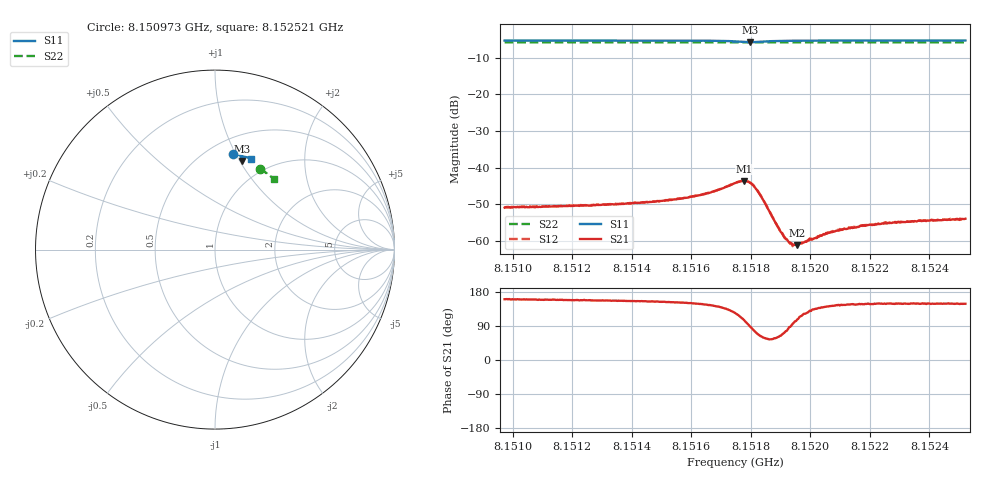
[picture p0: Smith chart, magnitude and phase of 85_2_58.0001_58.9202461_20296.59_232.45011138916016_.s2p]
#  HZ  S  RI  R  50.00
! Rohde & Schwarz Vector Network Analyzer
! Rohde-Schwarz,ZNB20-2Port,1311601062101988,3.16
! Created: UTC 3/21/2024, 12:54:04 AM
! freq[Hz]  re:S11  im:S11  re:S21  im:S21  re:S12  im:S12  re:S22  im:S22
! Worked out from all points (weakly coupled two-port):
!   401 points, 8.150973 GHz to 8.152521 GHz, reference 50 ohm
!   highest |S21| = -43.67 dB at 8.151778 GHz (marker M1); lowest = -61.2 dB at 8.151956 GHz (marker M2)
!   lowest |S11| = -5.7 dB at 8.151798 GHz (marker M3), VSWR 3.13, Z = 37.9 + j51.1 ohm
!   |S11| at or under -10 dB: nowhere
!   |S22| runs from -5.8 to -5.8 dB; largest |S21 - S12| = 0.00014
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8.1509734e9  0.1019 0.5331  -0.00267 0.000953  -0.00268 0.000994  0.2499 0.4493
8.1512326e9  0.1206 0.5295  -0.0028 0.00113  -0.00281 0.0012  0.2642 0.4408
8.1514919e9  0.1402 0.5245  -0.0031 0.00154  -0.0031 0.00154  0.2784 0.4316
8.1515692e9  0.1468 0.5224  -0.00332 0.00181  -0.00329 0.00187  0.2825 0.4288
8.1516389e9  0.1533 0.5191  -0.0036 0.0023  -0.00359 0.00239  0.2863 0.426
8.1516931e9  0.159 0.5143  -0.00385 0.00315  -0.00382 0.00325  0.2892 0.424
8.1517472e9  0.1626 0.5041  -0.00346 0.00505  -0.00338 0.00513  0.2917 0.4216
8.1517782e9  0.1576 0.4955  -0.00166 0.00634  -0.00161 0.0064  0.2929 0.4201
8.1517975e9  0.1499 0.494  0.000157 0.00618  0.000224 0.00628  0.2938 0.4196
8.151813e9  0.1444 0.4973  0.00131 0.00526  0.00143 0.00528  0.2944 0.4192
8.1518285e9  0.1418 0.5023  0.00186 0.00401  0.00192 0.00404  0.2951 0.4189
8.1518942e9  0.1489 0.5155  0.000711 0.0013  0.000733 0.00129  0.2989 0.4169
8.1519175e9  0.1522 0.5166  0.00026 0.00103  0.000298 0.00103  0.3001 0.4161
8.1519329e9  0.1543 0.5171  3.6e-05 0.000938  6.37e-05 0.0009  0.3011 0.4154
8.1519561e9  0.1573 0.5173  -0.000253 0.000836  -0.000266 0.000873  0.3023 0.4145
8.1519755e9  0.1594 0.5174  -0.00047 0.000813  -0.000425 0.000806  0.3033 0.4138
8.1520064e9  0.1627 0.5172  -0.00072 0.000772  -0.000683 0.000772  0.305 0.4126
8.1520606e9  0.1676 0.5165  -0.001 0.0008  -0.00102 0.000801  0.3077 0.4104
8.1521225e9  0.1729 0.5153  -0.0012 0.000806  -0.00123 0.000847  0.3108 0.408
8.1521728e9  0.1769 0.5143  -0.00135 0.00085  -0.00134 0.000898  0.3134 0.4059
8.1522657e9  0.1838 0.5123  -0.00152 0.00091  -0.00147 0.000927  0.3179 0.4023
8.152521e9  0.2016 0.5063  -0.0017 0.00105  -0.0017 0.00104  0.3306 0.3915
